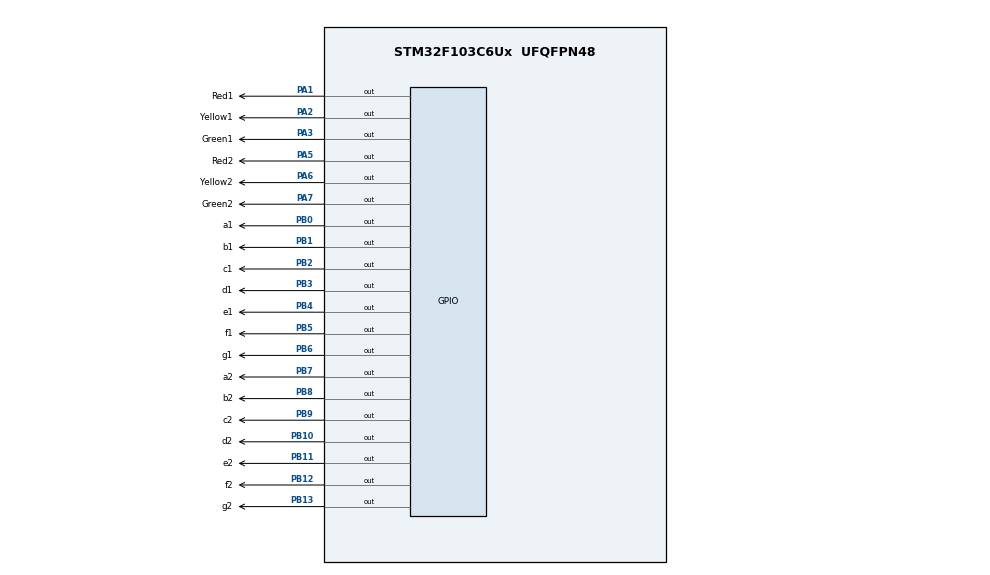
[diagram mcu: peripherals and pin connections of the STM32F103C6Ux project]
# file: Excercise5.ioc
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Mcu.Family=STM32F1
Mcu.Name=STM32F103C6Ux
Mcu.Package=UFQFPN48
NVIC.PriorityGroup=NVIC_PRIORITYGROUP_4
PA1.GPIO_Label=Red1
PA1.Signal=GPIO_Output
PA2.GPIO_Label=Yellow1
PA2.Signal=GPIO_Output
PA3.GPIO_Label=Green1
PA3.Signal=GPIO_Output
PA5.GPIO_Label=Red2
PA5.Signal=GPIO_Output
PA6.GPIO_Label=Yellow2
PA6.Signal=GPIO_Output
PA7.GPIO_Label=Green2
PA7.Signal=GPIO_Output
PB0.GPIO_Label=a1
PB0.Signal=GPIO_Output
PB1.GPIO_Label=b1
PB1.Signal=GPIO_Output
PB10.GPIO_Label=d2
PB10.Signal=GPIO_Output
PB11.GPIO_Label=e2
PB11.Signal=GPIO_Output
PB12.GPIO_Label=f2
PB12.Signal=GPIO_Output
PB13.GPIO_Label=g2
PB13.Signal=GPIO_Output
PB2.GPIO_Label=c1
PB2.Signal=GPIO_Output
PB3.GPIO_Label=d1
PB3.Signal=GPIO_Output
PB4.GPIO_Label=e1
PB4.Signal=GPIO_Output
PB5.GPIO_Label=f1
PB5.Signal=GPIO_Output
PB6.GPIO_Label=g1
PB6.Signal=GPIO_Output
PB7.GPIO_Label=a2
PB7.Signal=GPIO_Output
PB8.GPIO_Label=b2
PB8.Signal=GPIO_Output
PB9.GPIO_Label=c2
PB9.Signal=GPIO_Output
ProjectManager.HeapSize=0x200
ProjectManager.StackSize=0x400
ProjectManager.TargetToolchain=STM32CubeIDE
RCC.APB1Freq_Value=8000000
RCC.APB2Freq_Value=8000000
VP_SYS_VS_ND.Mode=No_Debug
board=custom

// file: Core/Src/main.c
/* USER CODE BEGIN Header */
/**
  ******************************************************************************
  * @file           : main.c
  * @brief          : Main program body
  ******************************************************************************
  * @attention
  *
  * <h2><center>&copy; Copyright (c) 2023 STMicroelectronics.
  * All rights reserved.</center></h2>
  *
  * This software component is licensed by ST under BSD 3-Clause license,
  * the "License"; You may not use this file except in compliance with the
  * License. You may obtain a copy of the License at:
  *                        opensource.org/licenses/BSD-3-Clause
  *
  ******************************************************************************
  */
/* USER CODE END Header */
#include "main.h"

void SystemClock_Config(void);
static void MX_GPIO_Init(void);

int main(void)
{

  /* MCU Configuration--------------------------------------------------------*/

  /* Reset of all peripherals, Initializes the Flash interface and the Systick. */
  HAL_Init();

  /* Configure the system clock */
  SystemClock_Config();

  /* Initialize all configured peripherals */
  MX_GPIO_Init();

  /* Infinite loop */
  void display7SEG(int num, uint32_t GPIO_Pin) {
        char segNumber[10] = {0xC0, 0xF9, 0xA4, 0xB0, 0x99, 0x92, 0x82, 0xF8, 0x80, 0x90};
        for (int i = 0; i < 7; ++i) {
            HAL_GPIO_WritePin(GPIOB, GPIO_Pin << i, (segNumber[num] >> i) & 1);
        }
   	 }

    	 int countRed = 5, countYellow = 1, countGreen = 3, turn = 1;
  /* USER CODE BEGIN WHILE */
  while (1)
  {
	  if(turn == 1) {
	   if(countRed >= 0) {
	      display7SEG(countRed, GPIO_PIN_0);
	      if(countRed >= 2) {
	    	  HAL_GPIO_WritePin(GPIOA, Red1_Pin, RESET);
	    	  HAL_GPIO_WritePin(GPIOA, Yellow1_Pin, SET);
	    	  HAL_GPIO_WritePin(GPIOA, Green1_Pin, SET);

	    	  HAL_GPIO_WritePin(GPIOA, Red2_Pin, SET);
	    	  HAL_GPIO_WritePin(GPIOA, Yellow2_Pin, SET);
			  HAL_GPIO_WritePin(GPIOA, Green2_Pin, RESET);

			  display7SEG(countGreen, GPIO_PIN_7);
			  countGreen--;
	    }
	      if(countRed < 2 && countRed >= 0) {
	         				  HAL_GPIO_WritePin(GPIOA, Red1_Pin, RESET);
	         				  HAL_GPIO_WritePin(GPIOA, Yellow1_Pin, SET);
	         				  HAL_GPIO_WritePin(GPIOA, Green1_Pin, SET);

	         				  HAL_GPIO_WritePin(GPIOA, Red2_Pin, SET);
	         				  HAL_GPIO_WritePin(GPIOA, Yellow2_Pin, RESET);
	         				  HAL_GPIO_WritePin(GPIOA, Green2_Pin, SET);

	         				  display7SEG(countYellow, GPIO_PIN_7);
	         				  countYellow--;
	         			  }
	         			  countRed--;
	         		  }
	         		  if(countYellow == -1) countYellow = 1;
	         		  if(countGreen == -1) countGreen = 3;
	         		  if(countRed == -1) {
	         			  countRed += 6;
	         			  turn = 2;
	         		  }
	         	  }
	  else {
	     		  if(countRed >= 0) {
	     		  	display7SEG(countRed, GPIO_PIN_7);
	     		  	if(countRed >= 2) {
	  				HAL_GPIO_WritePin(GPIOA, Red2_Pin, RESET);
	  				HAL_GPIO_WritePin(GPIOA, Yellow2_Pin, SET);
	  				HAL_GPIO_WritePin(GPIOA, Green2_Pin, SET);

	  				HAL_GPIO_WritePin(GPIOA, Red1_Pin, SET);
	  				HAL_GPIO_WritePin(GPIOA, Yellow1_Pin, SET);
	  				HAL_GPIO_WritePin(GPIOA, Green1_Pin, RESET);

	  				display7SEG(countGreen, GPIO_PIN_0);
	  				countGreen--;
	     		  	}
	     		  	if(countRed < 2 && countRed >= 0) {
	     		  		HAL_GPIO_WritePin(GPIOA, Red2_Pin, RESET);
	     		  		HAL_GPIO_WritePin(GPIOA, Yellow2_Pin, SET);
	     		  		HAL_GPIO_WritePin(GPIOA, Green2_Pin, SET);

	     		  		HAL_GPIO_WritePin(GPIOA, Red1_Pin, SET);
	     		  		HAL_GPIO_WritePin(GPIOA, Yellow1_Pin, RESET);
	     		  		HAL_GPIO_WritePin(GPIOA, Green1_Pin, SET);

	     		  		display7SEG(countYellow, GPIO_PIN_0);
	     		  		countYellow--;
	     		  	}
	     		  	countRed--;
	     		  }
	     		  if(countYellow == -1) countYellow = 1;
	     		  if(countGreen == -1) countGreen = 3;
	     		  if(countRed == -1) {
	     			  countRed += 6;
	     			  turn = 1;
	     		  }
	     	  }
	     	  HAL_Delay(1000);

    /* USER CODE END WHILE */

  }
}

void SystemClock_Config(void)
{
  RCC_OscInitTypeDef RCC_OscInitStruct = {0};
  RCC_ClkInitTypeDef RCC_ClkInitStruct = {0};

  /** Initializes the RCC Oscillators according to the specified parameters
  * in the RCC_OscInitTypeDef structure.
  */
  RCC_OscInitStruct.OscillatorType = RCC_OSCILLATORTYPE_HSI;
  RCC_OscInitStruct.HSIState = RCC_HSI_ON;
  RCC_OscInitStruct.HSICalibrationValue = RCC_HSICALIBRATION_DEFAULT;
  RCC_OscInitStruct.PLL.PLLState = RCC_PLL_NONE;
  if (HAL_RCC_OscConfig(&RCC_OscInitStruct) != HAL_OK)
  {
    Error_Handler();
  }
  /** Initializes the CPU, AHB and APB buses clocks
  */
  RCC_ClkInitStruct.ClockType = RCC_CLOCKTYPE_HCLK|RCC_CLOCKTYPE_SYSCLK
                              |RCC_CLOCKTYPE_PCLK1|RCC_CLOCKTYPE_PCLK2;
  RCC_ClkInitStruct.SYSCLKSource = RCC_SYSCLKSOURCE_HSI;
  RCC_ClkInitStruct.AHBCLKDivider = RCC_SYSCLK_DIV1;
  RCC_ClkInitStruct.APB1CLKDivider = RCC_HCLK_DIV1;
  RCC_ClkInitStruct.APB2CLKDivider = RCC_HCLK_DIV1;

  if (HAL_RCC_ClockConfig(&RCC_ClkInitStruct, FLASH_LATENCY_0) != HAL_OK)
  {
    Error_Handler();
  }
}

static void MX_GPIO_Init(void)
{
  GPIO_InitTypeDef GPIO_InitStruct = {0};

  /* GPIO Ports Clock Enable */
  __HAL_RCC_GPIOA_CLK_ENABLE();
  __HAL_RCC_GPIOB_CLK_ENABLE();

  /*Configure GPIO pin Output Level */
  HAL_GPIO_WritePin(GPIOA, Red1_Pin|Yellow1_Pin|Green1_Pin|Red2_Pin
                          |Yellow2_Pin|Green2_Pin, GPIO_PIN_RESET);

  /*Configure GPIO pin Output Level */
  HAL_GPIO_WritePin(GPIOB, a1_Pin|b1_Pin|c1_Pin|d2_Pin
                          |e2_Pin|f2_Pin|g2_Pin|d1_Pin
                          |e1_Pin|f1_Pin|g1_Pin|a2_Pin
                          |b2_Pin|c2_Pin, GPIO_PIN_RESET);

  /*Configure GPIO pins : Red1_Pin Yellow1_Pin Green1_Pin Red2_Pin
                           Yellow2_Pin Green2_Pin */
  GPIO_InitStruct.Pin = Red1_Pin|Yellow1_Pin|Green1_Pin|Red2_Pin
                          |Yellow2_Pin|Green2_Pin;
  GPIO_InitStruct.Mode = GPIO_MODE_OUTPUT_PP;
  GPIO_InitStruct.Pull = GPIO_NOPULL;
  GPIO_InitStruct.Speed = GPIO_SPEED_FREQ_LOW;
  HAL_GPIO_Init(GPIOA, &GPIO_InitStruct);

  /*Configure GPIO pins : a1_Pin b1_Pin c1_Pin d2_Pin
                           e2_Pin f2_Pin g2_Pin d1_Pin
                           e1_Pin f1_Pin g1_Pin a2_Pin
                           b2_Pin c2_Pin */
  GPIO_InitStruct.Pin = a1_Pin|b1_Pin|c1_Pin|d2_Pin
                          |e2_Pin|f2_Pin|g2_Pin|d1_Pin
                          |e1_Pin|f1_Pin|g1_Pin|a2_Pin
                          |b2_Pin|c2_Pin;
  GPIO_InitStruct.Mode = GPIO_MODE_OUTPUT_PP;
  GPIO_InitStruct.Pull = GPIO_NOPULL;
  GPIO_InitStruct.Speed = GPIO_SPEED_FREQ_LOW;
  HAL_GPIO_Init(GPIOB, &GPIO_InitStruct);

}

void Error_Handler(void)
{
  __disable_irq();
  while (1)
  {
  }
}

/************************ (C) COPYRIGHT STMicroelectronics *****END OF FILE****/
